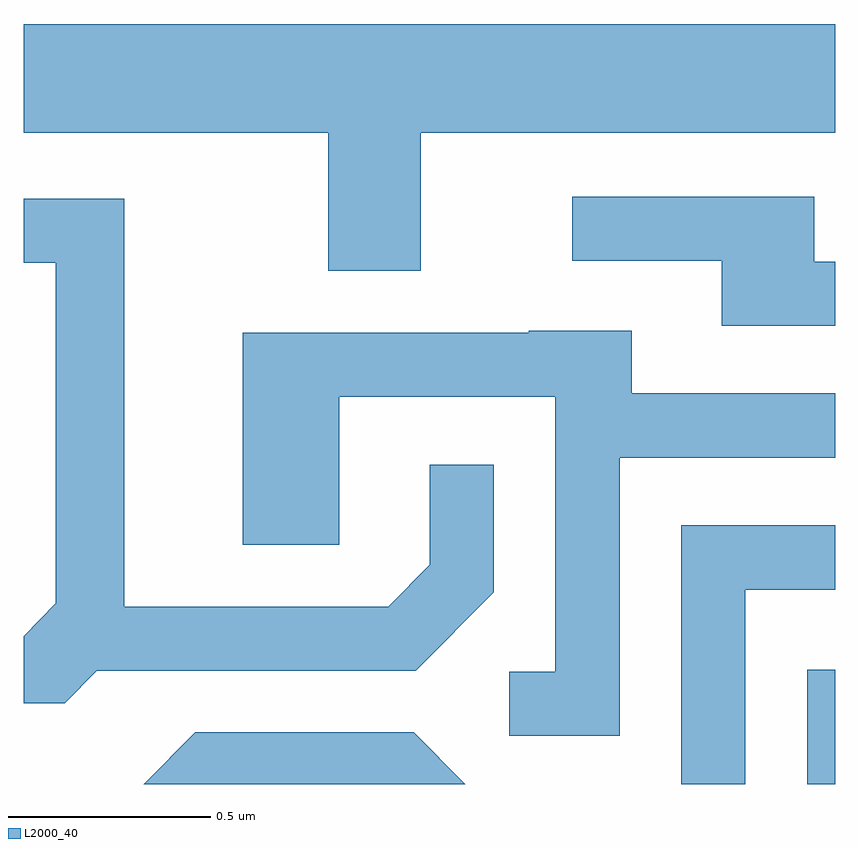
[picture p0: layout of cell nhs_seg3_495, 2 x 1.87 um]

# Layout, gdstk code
import gdstk
lib = gdstk.Library(unit=1e-6, precision=1e-09)
def R(c, l, rs):  # rectangles x0, y0, x1, y1
    for r in rs: c.add(gdstk.rectangle(r[:2], r[2:], *l))
def P(c, l, *ps):  # polygons
    for p in ps: c.add(gdstk.Polygon(p, *l))
L2000_40 = (2000, 40)

nhs_seg3_495 = lib.new_cell('nhs_seg3_495')
R(nhs_seg3_495, L2000_40, [(190.541,1199.892,190.611,1200.174)])
P(nhs_seg3_495, L2000_40, [(189.589,1201.496),(190.611,1201.496),(190.611,1201.764),(188.611,1201.764),(188.611,1201.496),(189.361,1201.496),(189.361,1201.156),(189.589,1201.156)],
  [(190.611,1201.179),(190.559,1201.179),(190.559,1201.339),(189.963,1201.339),(189.963,1201.181),(190.331,1201.181),(190.331,1201.021),(190.611,1201.021)],
  [(188.792,1200.171),(189.577,1200.171),(189.769,1200.364),(189.769,1200.678),(189.611,1200.678),(189.611,1200.432),(189.509,1200.329),(188.859,1200.329),(188.859,1201.334),(188.611,1201.334),(188.611,1201.176),(188.691,1201.176),(188.691,1200.337),(188.611,1200.256),(188.611,1200.091),(188.712,1200.091)],
  [(190.079,1200.696),(190.611,1200.696),(190.611,1200.854),(190.109,1200.854),(190.109,1201.009),(189.855,1201.009),(189.855,1201.004),(189.151,1201.004),(189.151,1200.481),(189.389,1200.481),(189.389,1200.846),(189.921,1200.846),(189.921,1200.169),(189.808,1200.169),(189.808,1200.011),(190.079,1200.011)],
  [(190.389,1200.371),(190.611,1200.371),(190.611,1200.529),(190.231,1200.529),(190.231,1199.892),(190.389,1199.892)],
  [(189.572,1200.019),(189.034,1200.019),(188.907,1199.892),(189.699,1199.892)])

lib.write_gds('nhs_seg3_495.gds')
